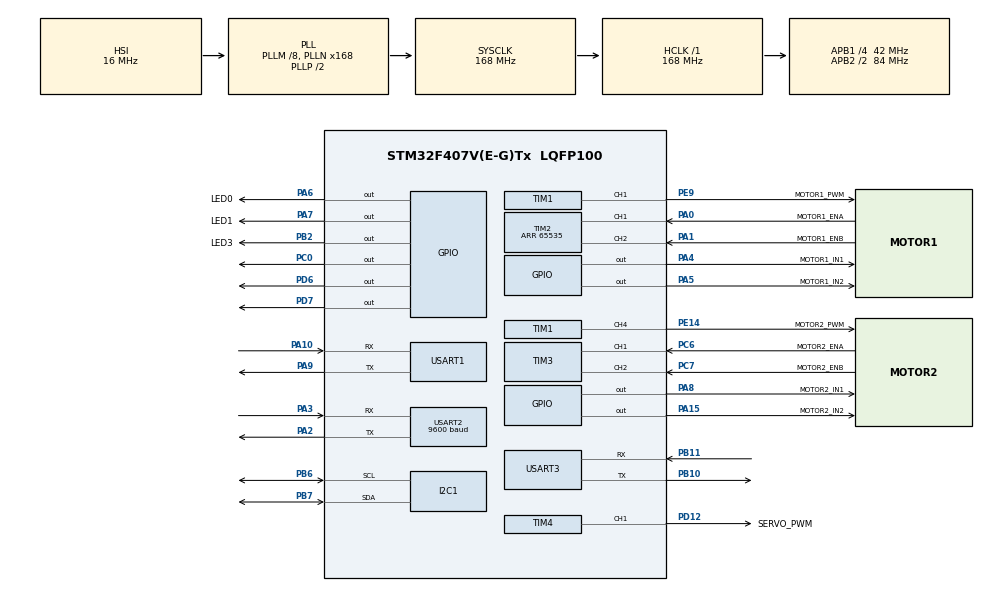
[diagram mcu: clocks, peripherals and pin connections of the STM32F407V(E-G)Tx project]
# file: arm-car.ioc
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Mcu.Family=STM32F4
Mcu.Name=STM32F407V(E-G)Tx
Mcu.Package=LQFP100
NVIC.PriorityGroup=NVIC_PRIORITYGROUP_4
NVIC.TIM6_DAC_IRQn=true\:0\:0\:false\:false\:true\:true\:true\:true
NVIC.USART1_IRQn=true\:0\:0\:false\:false\:true\:true\:true\:true
NVIC.USART2_IRQn=true\:0\:0\:false\:false\:true\:true\:true\:true
PA0-WKUP.GPIO_Label=MOTOR1_ENA
PA0-WKUP.Signal=S_TIM2_CH1_ETR
PA1.GPIO_Label=MOTOR1_ENB
PA1.Signal=S_TIM2_CH2
PA10.Mode=Asynchronous
PA10.Signal=USART1_RX
PA15.GPIO_Label=MOTOR2_IN2
PA15.Signal=GPIO_Output
PA2.Mode=Asynchronous
PA2.Signal=USART2_TX
PA3.Mode=Asynchronous
PA3.Signal=USART2_RX
PA4.GPIO_Label=MOTOR1_IN1
PA4.Signal=GPIO_Output
PA5.GPIO_Label=MOTOR1_IN2
PA5.Signal=GPIO_Output
PA6.GPIO_Label=LED0
PA6.Signal=GPIO_Output
PA7.GPIO_Label=LED1
PA7.Signal=GPIO_Output
PA8.GPIO_Label=MOTOR2_IN1
PA8.Signal=GPIO_Output
PA9.Mode=Asynchronous
PA9.Signal=USART1_TX
PB10.Mode=Asynchronous
PB10.Signal=USART3_TX
PB11.Mode=Asynchronous
PB11.Signal=USART3_RX
PB2.GPIO_Label=LED3
PB2.Signal=GPIO_Output
PB6.Mode=I2C
PB6.Signal=I2C1_SCL
PB7.Mode=I2C
PB7.Signal=I2C1_SDA
PC0.GPIO_ModeDefaultOutputPP=GPIO_MODE_OUTPUT_PP
PC0.GPIO_PuPd=GPIO_NOPULL
PC0.PinState=GPIO_PIN_RESET
PC0.Signal=GPIO_Output
PC6.GPIO_Label=MOTOR2_ENA
PC6.Signal=S_TIM3_CH1
PC7.GPIO_Label=MOTOR2_ENB
PC7.Signal=S_TIM3_CH2
PD12.GPIO_Label=SERVO_PWM
PD12.Signal=S_TIM4_CH1
PD6.Signal=GPIO_Output
PD7.Signal=GPIO_Output
PE14.GPIO_Label=MOTOR2_PWM
PE14.Signal=S_TIM1_CH4
PE9.GPIO_Label=MOTOR1_PWM
PE9.Signal=S_TIM1_CH1
ProjectManager.HeapSize=0x200
ProjectManager.StackSize=0x400
ProjectManager.TargetToolchain=Makefile
RCC.48MHZClocksFreq_Value=84000000
RCC.AHBFreq_Value=168000000
RCC.APB1CLKDivider=RCC_HCLK_DIV4
RCC.APB1Freq_Value=42000000
RCC.APB1TimFreq_Value=84000000
RCC.APB2CLKDivider=RCC_HCLK_DIV2
RCC.APB2Freq_Value=84000000
RCC.APB2TimFreq_Value=168000000
RCC.CortexFreq_Value=168000000
RCC.HCLKFreq_Value=168000000
RCC.HSE_VALUE=25000000
RCC.HSI_VALUE=16000000
RCC.LSE_VALUE=32768
RCC.PLLM=8
RCC.PLLN=168
RCC.SYSCLKFreq_VALUE=168000000
RCC.SYSCLKSource=RCC_SYSCLKSOURCE_PLLCLK
RCC.VCOOutputFreq_Value=336000000
SH.S_TIM1_CH1.0=TIM1_CH1,PWM Generation1 CH1
SH.S_TIM1_CH4.0=TIM1_CH4,PWM Generation4 CH4
SH.S_TIM2_CH1_ETR.0=TIM2_CH1,Encoder_Interface
SH.S_TIM2_CH2.0=TIM2_CH2,Encoder_Interface
SH.S_TIM3_CH1.0=TIM3_CH1,Encoder_Interface
SH.S_TIM3_CH2.0=TIM3_CH2,Encoder_Interface
SH.S_TIM4_CH1.0=TIM4_CH1,PWM Generation1 CH1
TIM1.Channel-PWM\ Generation1\ CH1=TIM_CHANNEL_1
TIM1.Channel-PWM\ Generation4\ CH4=TIM_CHANNEL_4
TIM2.AutoReloadPreload=TIM_AUTORELOAD_PRELOAD_ENABLE
TIM2.Period=65535
TIM3.AutoReloadPreload=TIM_AUTORELOAD_PRELOAD_ENABLE
TIM4.AutoReloadPreload=TIM_AUTORELOAD_PRELOAD_ENABLE
TIM4.Channel-PWM\ Generation1\ CH1=TIM_CHANNEL_1
TIM4.Period=9999
TIM4.Prescaler=167
TIM6.Period=8399
TIM6.Prescaler=999
USART1.VirtualMode=VM_ASYNC
USART2.BaudRate=9600
USART2.VirtualMode=VM_ASYNC
USART3.VirtualMode=VM_ASYNC
VP_TIM6_VS_ClockSourceINT.Mode=Enable_Timer
board=custom

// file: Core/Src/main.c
/* USER CODE BEGIN Header */
/**
 ******************************************************************************
 * @file           : main.c
 * @brief          : Main program body
 ******************************************************************************
 * @attention
 *
 * Copyright (c) 2025 STMicroelectronics.
 * All rights reserved.
 *
 * This software is licensed under terms that can be found in the LICENSE file
 * in the root directory of this software component.
 * If no LICENSE file comes with this software, it is provided AS-IS.
 *
 ******************************************************************************
 */
/* USER CODE END Header */
#include "main.h"
#include "i2c.h"
#include "tim.h"
#include "usart.h"
#include "gpio.h"

/* USER CODE BEGIN Includes */
#include <stdio.h>
#include "wit_c_sdk.h"
#include "witi2c.h"
#include "motor.h"
#include "trace.h"
#include "pca9685.h"
#include "servo.h"
#include "work.h"
/* USER CODE END Includes */

/* USER CODE BEGIN PTD */
#define ACC_UPDATE   0x01
#define GYRO_UPDATE  0x02
#define ANGLE_UPDATE 0x04
#define MAG_UPDATE   0x08
#define READ_UPDATE  0x80

/* USER CODE END PTD */

/* USER CODE BEGIN PV */
float RollX = 0, PitchY = 0, YawZ;
float zRollx, zPitchY, zYawZ;
/* USER CODE END PV */

void SystemClock_Config(void);
/* USER CODE BEGIN PFP */
uint8_t RxData1, RxData2;
/* USER CODE END PFP */

int main(void)
{

    /* MCU Configuration--------------------------------------------------------*/

    /* Reset of all peripherals, Initializes the Flash interface and the Systick. */
    HAL_Init();

    /* Configure the system clock */
    SystemClock_Config();

    /* Initialize all configured peripherals */
    MX_GPIO_Init();
    MX_I2C1_Init();
    MX_USART1_UART_Init();
    MX_USART2_UART_Init();
    MX_TIM1_Init();
    MX_TIM2_Init();
    MX_TIM3_Init();
    MX_TIM6_Init();
    MX_TIM4_Init();
    MX_USART3_UART_Init();
    /* USER CODE BEGIN 2 */
    printf("begin\r\n");
    HAL_UART_Receive_IT(&huart1, &RxData1, 1);
    HAL_UART_Receive_IT(&huart2, &RxData2, 1); // 启动UART接收中断

    for (int i = 0; i < 10; i++) {
        HAL_GPIO_WritePin(GPIOB, LED3_Pin, (i & 1) ? GPIO_PIN_SET : GPIO_PIN_RESET);
        HAL_Delay(100);
    }
    HAL_Delay(5000);
    zRollx = RollX, zPitchY = PitchY, zYawZ = YawZ;
    if (zYawZ == 360) {
        zYawZ = 0; // 初始化YawZ为0
    }

    // 启用调试输出
    // PCA9685_SetDebug(1);

    // 初始化PCA9685
    PCA9685_Init(&hi2c1, 0);

    // 设置PWM频率为50Hz（舵机常用频率）
    PCA9685_SetPWMFreq(&hi2c1, 50.0f);
    PCA9685_SetServoPulse(&hi2c1, 0, SERVO_PWM_MID); // 设置第一个舵机到中位1.5ms
    Car_Init(&car);
    Car_Speed_Percentage(&car, 0, 0);

    for (int i = 0; i < 10; i++) {
        HAL_GPIO_WritePin(GPIOB, LED3_Pin, (i & 1) ? GPIO_PIN_SET : GPIO_PIN_RESET);
        HAL_Delay(100);
    }

    // int turn_pulse = 2180;
    // PCA9685_SetServoPulse(&hi2c1, 0, mid + 500);
    // PCA9685_SetServoPulse(&hi2c1, 0, turn_pulse);

    /* USER CODE END 2 */

    /* Infinite loop */
    /* USER CODE BEGIN WHILE */
    int i = 0, led = 0;
    WorkInit(&car, &pca9685_handle); // 初始化工作状态

    // mode1();
    // mode2();
    // mode4();
    // straight_by_yaw(0);

    mode0();
    // mode1();
    // mode2();
    // straight_by_yaw_1(141.35 - 10, 1);

    // mode3();
    // straight_by_yaw_2(38.65 + 9, 0);

    question4();

    // mode2();

    // const int ANGLE1 = 0, ANGLE2 = 180 + 38.65 + 38.65 + 13;

    // straight_by_yaw_1(ANGLE1, 1);

    // mode3();
    // straight_by_yaw_2(ANGLE2, 0);

    // mode2();

    // straight_by_yaw_1(ANGLE1, 1);

    // mode3();
    // straight_by_yaw_2(ANGLE2, 0);

    // mode2();

    // straight_by_yaw_1(ANGLE1, 1);

    // mode3();
    // straight_by_yaw_2(ANGLE2, 0);

    // mode2();

    // straight_by_yaw_1(ANGLE1, 1);

    // mode3();
    // straight_by_yaw_2(ANGLE2, 0);

    // mode2();

    while (1) {
        // printf("yaw:%.2f\r\n", work.YawZ);
        blink();
        /* USER CODE END WHILE */

    }
}

void SystemClock_Config(void)
{
    RCC_OscInitTypeDef RCC_OscInitStruct = {0};
    RCC_ClkInitTypeDef RCC_ClkInitStruct = {0};

    /** Configure the main internal regulator output voltage
     */
    __HAL_RCC_PWR_CLK_ENABLE();
    __HAL_PWR_VOLTAGESCALING_CONFIG(PWR_REGULATOR_VOLTAGE_SCALE1);

    /** Initializes the RCC Oscillators according to the specified parameters
     * in the RCC_OscInitTypeDef structure.
     */
    RCC_OscInitStruct.OscillatorType      = RCC_OSCILLATORTYPE_HSI;
    RCC_OscInitStruct.HSIState            = RCC_HSI_ON;
    RCC_OscInitStruct.HSICalibrationValue = RCC_HSICALIBRATION_DEFAULT;
    RCC_OscInitStruct.PLL.PLLState        = RCC_PLL_ON;
    RCC_OscInitStruct.PLL.PLLSource       = RCC_PLLSOURCE_HSI;
    RCC_OscInitStruct.PLL.PLLM            = 8;
    RCC_OscInitStruct.PLL.PLLN            = 168;
    RCC_OscInitStruct.PLL.PLLP            = RCC_PLLP_DIV2;
    RCC_OscInitStruct.PLL.PLLQ            = 4;
    if (HAL_RCC_OscConfig(&RCC_OscInitStruct) != HAL_OK) {
        Error_Handler();
    }

    /** Initializes the CPU, AHB and APB buses clocks
     */
    RCC_ClkInitStruct.ClockType      = RCC_CLOCKTYPE_HCLK | RCC_CLOCKTYPE_SYSCLK | RCC_CLOCKTYPE_PCLK1 | RCC_CLOCKTYPE_PCLK2;
    RCC_ClkInitStruct.SYSCLKSource   = RCC_SYSCLKSOURCE_PLLCLK;
    RCC_ClkInitStruct.AHBCLKDivider  = RCC_SYSCLK_DIV1;
    RCC_ClkInitStruct.APB1CLKDivider = RCC_HCLK_DIV4;
    RCC_ClkInitStruct.APB2CLKDivider = RCC_HCLK_DIV2;

    if (HAL_RCC_ClockConfig(&RCC_ClkInitStruct, FLASH_LATENCY_5) != HAL_OK) {
        Error_Handler();
    }
}

/* USER CODE BEGIN 4 */
void HAL_TIM_PeriodElapsedCallback(TIM_HandleTypeDef *htim)
{
    /* USER CODE BEGIN Callback 0 */
    if (htim->Instance == TIM6) {
        Motor_Speed_Control(&car);
    }
    /* USER CODE END Callback 0 */
    /* USER CODE BEGIN Callback 1 */

    /* USER CODE END Callback 1 */
}

// 角度数据逆时针0~360
void jy61p_ReceiveData(uint8_t data)
{
    static uint8_t index = 0;
    static uint8_t buffer[15];
    if (data == 0x55) { // 帧头
        index           = 0;
        buffer[index++] = data;
    } else if (index > 0 && index < 11) {
        // printf("i:%d d:%d\r\n", index, data);
        buffer[index++] = data;
        if (index == 11) {
            // 解析数据
            if (buffer[1] != 0x53) return;
            uint8_t sum = 0x55 + 0x53 + buffer[2] + buffer[3] + buffer[4] + buffer[5] + buffer[6] + buffer[7] + buffer[8] + buffer[9];
            if (sum != buffer[10]) return;
            // printf("data received: %02X %02X %02X %02X %02X %02X %02X %02X %02X %02X %02X %02X\r\n", buffer[0], buffer[1], buffer[2], buffer[3], buffer[4], buffer[5], buffer[6], buffer[7], buffer[8], buffer[9], buffer[10]);
            work.RollX  = (float)(((buffer[3] << 8) | buffer[2]) / 32768.0 * 180) - work.zRollx;
            work.PitchY = (float)(((buffer[5] << 8) | buffer[4]) / 32768.0 * 180) - work.zPitchY;
            work.YawZ   = (float)(((buffer[7] << 8) | buffer[6]) / 32768.0 * 180) - work.zYawZ;
            if (work.YawZ < 0) {
                work.YawZ += 360; // 确保YawZ在0到360度之间
            }
            // 处理`角度数据
            // printf("%.2f,%.2f,%.2f\r\n", RollX, PitchY, YawZ);
        }
    }
}

void control_ReceiveData(uint8_t data)
{
    static uint8_t index = 0;
    static uint8_t buffer[15];
    if (data == '@') { // 帧头
        index           = 0;
        buffer[index++] = data;
    } else if (data == '\n') {
        int16_t speed[2];
        speed[0] = ((buffer[1] & 0x7f) << 8) | buffer[2];
        speed[1] = ((buffer[3] & 0x7f) << 8) | buffer[4];
        if (buffer[1] & 0x80) speed[0] = -speed[0]; // 处理方向
        if (buffer[3] & 0x80) speed[1] = -speed[1]; // 处理方向
        if (index == 5) {
            // 解析数据
            // printf("data received: %02X %02X %02X %02X %02X\r\n", buffer[0], buffer[1], buffer[2], buffer[3], buffer[4]);
            printf("Speed:%d,%d\r\n", speed[0], speed[1]);
            Car_Speed(&car, speed[0], speed[1]);
        }
    } else {
        buffer[index++] = data;
    }
}

void HAL_UART_RxCpltCallback(UART_HandleTypeDef *huart)
{
    if (huart->Instance == USART1) {
        control_ReceiveData(RxData1);              // 调用数据包处理函数
        HAL_UART_Receive_IT(&huart1, &RxData1, 1); // 继续接收下一个字节
    } else if (huart->Instance == USART2) {
        // printf("interrupt received: %02X\r\n", RxData);
        jy61p_ReceiveData(RxData2);                // 调用数据包处理函数
        HAL_UART_Receive_IT(&huart2, &RxData2, 1); // 继续接收下一个字节
    }
}
/* USER CODE END 4 */

void Error_Handler(void)
{
    __disable_irq();
    while (1) {
    }
}
